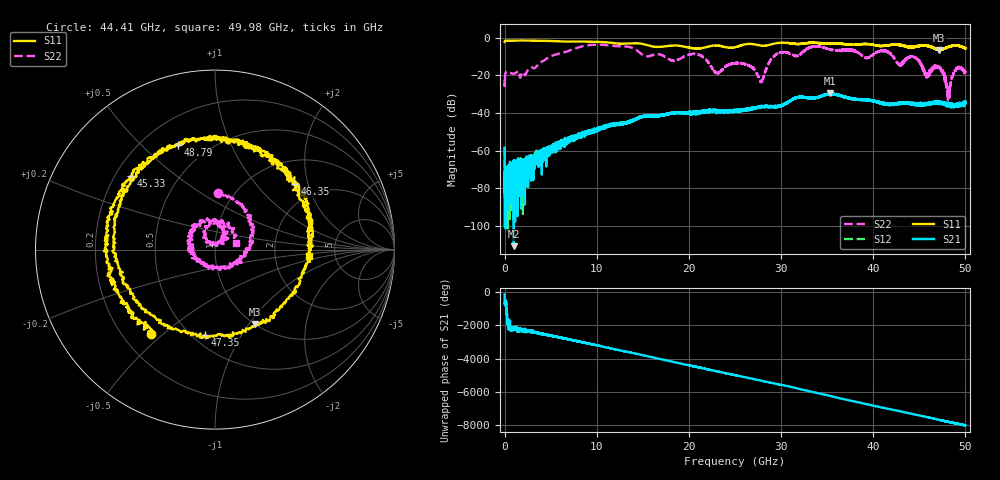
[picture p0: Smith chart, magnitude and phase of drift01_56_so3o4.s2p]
!Created with skrf (http://scikit-rf.org).
# Hz S RI R 50.0
!freq ReS11 ImS11 ReS21 ImS21 ReS12 ImS12 ReS22 ImS22
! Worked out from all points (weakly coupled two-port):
!   10001 points, 300 kHz to 50 GHz, reference 50 ohm
!   highest |S21| = -29.44 dB at 35.34 GHz (marker M1); lowest = -110.8 dB at 1 GHz (marker M2)
!   lowest |S11| = -6.5 dB at 47.1 GHz (marker M3), VSWR 2.78, Z = 50.4 - j53.6 ohm
!   |S11| at or under -10 dB: nowhere
!   |S22| runs from -33.1 to -3.6 dB; largest |S21 - S12| = 0.0041
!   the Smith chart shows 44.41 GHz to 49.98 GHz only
!   S11 on the Smith chart (normalised r, x): 44.41 GHz: 0.32, -0.45; 45.33 GHz: 0.26, +0.35; 46.35 GHz: 1.52, +1.65; 47.35 GHz: 0.57, -0.71; 48.79 GHz: 0.35, +0.65; 49.98 GHz: 3.17, -0.30
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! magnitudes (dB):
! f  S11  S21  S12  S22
! 300 kHz  -2.1  -58.4  -58.2  -22.3
! 255.3 MHz  -1.4  -87.9  -76.1  -18.0
! 1 GHz  -1.5  -110.8  -68.0  -19.0
! 8.335 GHz  -1.9  -51.5  -51.4  -4.5
! 16.67 GHz  -4.8  -41.6  -41.5  -8.7
! 20.97 GHz  -5.6  -40.0  -39.6  -8.8
! 23.08 GHz  -4.1  -38.9  -39.2  -18.8
! 25 GHz  -5.0  -38.8  -38.9  -13.7
! 27.85 GHz  -4.2  -36.3  -36.7  -23.2
! 29.47 GHz  -2.8  -36.5  -36.3  -8.8
! 33.34 GHz  -2.6  -31.8  -31.9  -4.8
! 35.34 GHz  -3.1  -29.4  -29.9  -6.3
! 41.67 GHz  -3.8  -35.6  -35.3  -7.9
! 44.41 GHz  -4.6  -34.9  -35.1  -10.0
! 45.33 GHz  -4.1  -35.6  -35.3  -15.3
! 46.35 GHz  -4.8  -34.5  -34.3  -16.0
! 47.1 GHz  -6.5  -33.9  -34.1  -16.0
! 47.35 GHz  -6.4  -34.2  -34.1  -17.0
! 48.13 GHz  -4.8  -34.9  -34.7  -29.5
! 48.79 GHz  -4.2  -35.7  -36.1  -18.7
! 49.98 GHz  -5.6  -35.2  -34.5  -18.2
! 50 GHz  -5.5  -33.7  -34.8  -18.2
